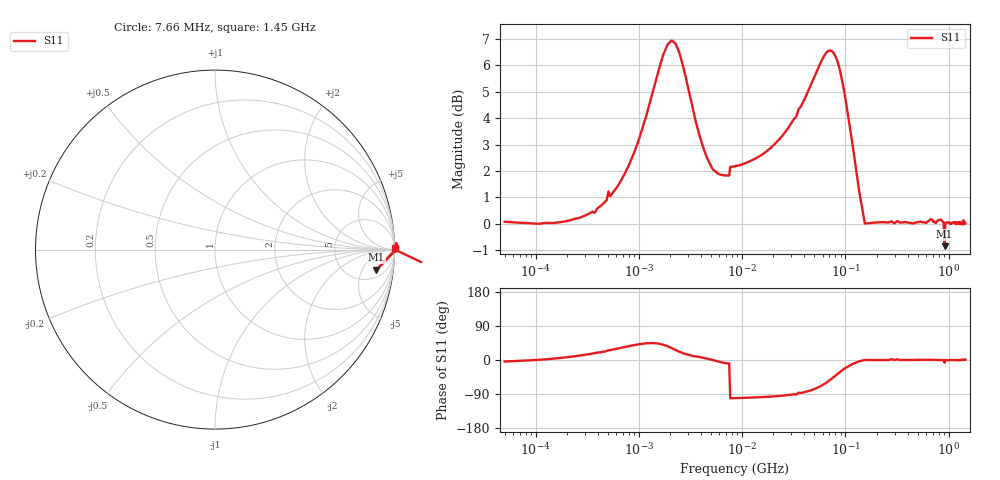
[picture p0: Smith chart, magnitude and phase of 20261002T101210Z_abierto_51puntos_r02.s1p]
! piloto_saltos / abierto_51puntos / r02
# HZ S RI R 50
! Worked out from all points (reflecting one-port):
!   251 points, 50 kHz to 1.45 GHz, reference 50 ohm
!   lowest |S11| = -0.9 dB at 910 MHz (marker M1), VSWR 20.40, Z = 391 - j494 ohm
!   phase of S11 starts at -4 deg and turns +5 deg over the sweep
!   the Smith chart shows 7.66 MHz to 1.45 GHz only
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50000  1.006 -0.0706
183000  1.003 0.1053
430000  1.015 0.3728
658000  1.021 0.6299
1180000  1.152 1.116
1720000  1.593 1.356
2080000  1.9 1.157
2440000  1.96 0.806
3340000  1.62 0.2934
5140000  1.27 0.00576
7480000  1.22 -0.1916
7660000  -0.2419 -1.258
8560000  -0.2345 -1.263
3.16e7  -0.0109 -1.577
3.34e7  -0.037 -1.595
3.52e7  0.112 -1.645
4.6e7  0.3125 -1.801
6.4e7  1.006 -1.841
7.3e7  1.368 -1.628
8.74e7  1.658 -1.064
1e8  1.609 -0.6191
1.18e8  1.377 -0.2439
1.54e8  1.001 0.000731
4.06e8  1.005 0.00113
8.92e8  1.007 -0.000346
9.1e8  0.8995 -0.1126
9.28e8  1.004 -0.00588
1.45e9  1.001 0.0106
